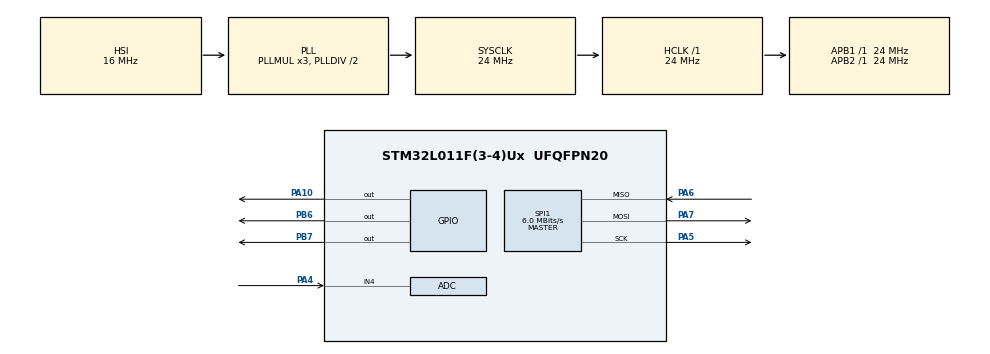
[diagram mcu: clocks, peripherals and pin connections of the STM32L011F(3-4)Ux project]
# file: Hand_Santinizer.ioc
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ADC.ClockPrescaler=ADC_CLOCK_ASYNC_DIV12
ADC.ContinuousConvMode=DISABLE
ADC.EnableAnalogWatchDog=false
ADC.LowPowerAutoPowerOff=ENABLE
ADC.LowPowerAutoWait=ENABLE
ADC.Overrun=ADC_OVR_DATA_OVERWRITTEN
ADC.Resolution=ADC_RESOLUTION_12B
ADC.SamplingTime=ADC_SAMPLETIME_1CYCLE_5
Mcu.Family=STM32L0
Mcu.Name=STM32L011F(3-4)Ux
Mcu.Package=UFQFPN20
NVIC.ADC1_COMP_IRQn=true\:0\:0\:true\:false\:true\:true\:true\:true
NVIC.RTC_IRQn=true\:0\:0\:false\:false\:true\:true\:true\:true
PA10.GPIO_PuPd=GPIO_PULLDOWN
PA10.Signal=GPIO_Output
PA13.Mode=Serial_Wire
PA13.Signal=SYS_SWDIO
PA14.Mode=Serial_Wire
PA14.Signal=SYS_SWCLK
PA4.Mode=IN4
PA4.Signal=ADC_IN4
PA5.Mode=Full_Duplex_Master
PA5.Signal=SPI1_SCK
PA6.Mode=Full_Duplex_Master
PA6.Signal=SPI1_MISO
PA7.Mode=Full_Duplex_Master
PA7.Signal=SPI1_MOSI
PB6.GPIO_PuPd=GPIO_PULLDOWN
PB6.Signal=GPIO_Output
PB7.PinState=GPIO_PIN_SET
PB7.Signal=GPIO_Output
PC14-OSC32_IN.Mode=LSE-External-Oscillator
PC14-OSC32_IN.Signal=RCC_OSC32_IN
PC15-OSC32_OUT.Mode=LSE-External-Oscillator
PC15-OSC32_OUT.Signal=RCC_OSC32_OUT
ProjectManager.HeapSize=0x200
ProjectManager.StackSize=0x400
ProjectManager.TargetToolchain=MDK-ARM V5.32
RCC.AHBFreq_Value=24000000
RCC.APB1Freq_Value=24000000
RCC.APB1TimFreq_Value=24000000
RCC.APB2Freq_Value=24000000
RCC.APB2TimFreq_Value=24000000
RCC.EnableCSSLSE=true
RCC.HCLKFreq_Value=24000000
RCC.HSE_VALUE=8000000
RCC.HSI16_VALUE=16000000
RCC.HSI_VALUE=16000000
RCC.MSI_VALUE=2097000
RCC.RTCClockSelection=RCC_RTCCLKSOURCE_LSE
RCC.RTCClockSelectionVirtual=RCC_RTCCLKSOURCE_LSE
RCC.SYSCLKFreq_VALUE=24000000
RCC.SYSCLKSource=RCC_SYSCLKSOURCE_PLLCLK
RCC.VCOOutputFreq_Value=48000000
RTC.Alarm=RTC_ALARM_A
RTC.AlarmMaskDateWeekDay=RTC_ALARMMASK_DATEWEEKDAY
RTC.AlarmMaskHours=RTC_ALARMMASK_HOURS
RTC.AlarmMaskMinutes=RTC_ALARMMASK_MINUTES
RTC.AlarmMaskSeconds=RTC_ALARMMASK_SECONDS
RTC.Seconds_A=1
SPI1.BaudRatePrescaler=SPI_BAUDRATEPRESCALER_4
SPI1.CLKPolarity=SPI_POLARITY_LOW
SPI1.CalculateBaudRate=6.0 MBits/s
SPI1.Direction=SPI_DIRECTION_2LINES
SPI1.Mode=SPI_MODE_MASTER
SPI1.VirtualType=VM_MASTER
VP_RTC_VS_RTC_Activate.Mode=RTC_Enabled
VP_RTC_VS_RTC_Alarm_A_Intern.Mode=Alarm A
VP_RTC_VS_RTC_Calendar.Mode=RTC_Calendar
board=custom

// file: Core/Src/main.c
/* USER CODE BEGIN Header */
/**
  ******************************************************************************
  * @file           : main.c
  * @brief          : Main program body
  ******************************************************************************
  * @attention
  *
  * Copyright (c) 2024 STMicroelectronics.
  * All rights reserved.
  *
  * This software is licensed under terms that can be found in the LICENSE file
  * in the root directory of this software component.
  * If no LICENSE file comes with this software, it is provided AS-IS.
  *
  ******************************************************************************
  */
/* USER CODE END Header */
#include "main.h"

/* USER CODE BEGIN Includes */
#include "fonts/Font_9_Serif.h"
/* USER CODE END Includes */

ADC_HandleTypeDef hadc;

RTC_HandleTypeDef hrtc;

SPI_HandleTypeDef hspi1;

/* USER CODE BEGIN PV */
bool ADC_WDG_SET = false;
bool RTC_WAKEUP_SET = false;
bool LED_OFF = false;
int  time_min = 0;
int  time_sec = 0;
uint16_t ADC_value=0;
/* USER CODE END PV */

void SystemClock_Config(void);
static void MX_GPIO_Init(void);
static void MX_SPI1_Init(void);
static void MX_ADC_Init(void);
static void MX_RTC_Init(void);
/* USER CODE BEGIN PFP */
void Time_Increase(void);
void Screen_Reset(void);
void Screen_SetTime(int min, int sec);

/* USER CODE END PFP */

int main(void)
{

  /* MCU Configuration--------------------------------------------------------*/

  /* Reset of all peripherals, Initializes the Flash interface and the Systick. */
  HAL_Init();

  /* Configure the system clock */
  SystemClock_Config();

  /* Initialize all configured peripherals */
  MX_GPIO_Init();
  MX_SPI1_Init();
  MX_ADC_Init();
  MX_RTC_Init();
  /* USER CODE BEGIN 2 */
//	SEGGER_RT

	SSD1331_Init();

	HAL_Delay(100);

//	while(1){
//
//	Screen_SetTime(time_min, time_sec);
//	HAL_Delay(5000);
//	Screen_Reset();
//	}

	HAL_ADC_Start_IT(&hadc);
  /* USER CODE END 2 */

  /* Infinite loop */
  /* USER CODE BEGIN WHILE */
  while (1)
  {
//			HAL_SuspendTick();
//      HAL_RTCEx_SetWakeUpTimer_IT(&hrtc, 1, RTC_WAKEUPCLOCK_CK_SPRE_16BITS);
//
//			// Enter STOP mode
//			HAL_PWR_EnterSTOPMode(PWR_LOWPOWERREGULATOR_ON, PWR_STOPENTRY_WFI);
//
//			// Wakeup by RTC after 1s
//			HAL_RTCEx_DeactivateWakeUpTimer(&hrtc);
//			SystemClock_Config();
//			HAL_ResumeTick();
//			HAL_ADC_Start(&hadc);
			if (ADC_WDG_SET == true)
			{
				ADC_WDG_SET = false;
				// Reset the stop watch
				Screen_Reset();

			}
			if (RTC_WAKEUP_SET == true)
			{
				RTC_WAKEUP_SET = false;
				Time_Increase();

				//Refresh the screen
				Screen_SetTime(time_min, time_sec);
			}

				HAL_ADC_Stop(&hadc);
				HAL_Delay(100);
				HAL_ADC_Start_IT(&hadc);
    /* USER CODE END WHILE */

  }
}

void SystemClock_Config(void)
{
  RCC_OscInitTypeDef RCC_OscInitStruct = {0};
  RCC_ClkInitTypeDef RCC_ClkInitStruct = {0};
  RCC_PeriphCLKInitTypeDef PeriphClkInit = {0};

  /** Configure the main internal regulator output voltage
  */
  __HAL_PWR_VOLTAGESCALING_CONFIG(PWR_REGULATOR_VOLTAGE_SCALE1);

  /** Configure LSE Drive Capability
  */
  HAL_PWR_EnableBkUpAccess();
  __HAL_RCC_LSEDRIVE_CONFIG(RCC_LSEDRIVE_LOW);

  /** Initializes the RCC Oscillators according to the specified parameters
  * in the RCC_OscInitTypeDef structure.
  */
  RCC_OscInitStruct.OscillatorType = RCC_OSCILLATORTYPE_HSI|RCC_OSCILLATORTYPE_LSE;
  RCC_OscInitStruct.LSEState = RCC_LSE_ON;
  RCC_OscInitStruct.HSIState = RCC_HSI_ON;
  RCC_OscInitStruct.HSICalibrationValue = RCC_HSICALIBRATION_DEFAULT;
  RCC_OscInitStruct.PLL.PLLState = RCC_PLL_ON;
  RCC_OscInitStruct.PLL.PLLSource = RCC_PLLSOURCE_HSI;
  RCC_OscInitStruct.PLL.PLLMUL = RCC_PLLMUL_3;
  RCC_OscInitStruct.PLL.PLLDIV = RCC_PLLDIV_2;
  if (HAL_RCC_OscConfig(&RCC_OscInitStruct) != HAL_OK)
  {
    Error_Handler();
  }

  /** Initializes the CPU, AHB and APB buses clocks
  */
  RCC_ClkInitStruct.ClockType = RCC_CLOCKTYPE_HCLK|RCC_CLOCKTYPE_SYSCLK
                              |RCC_CLOCKTYPE_PCLK1|RCC_CLOCKTYPE_PCLK2;
  RCC_ClkInitStruct.SYSCLKSource = RCC_SYSCLKSOURCE_PLLCLK;
  RCC_ClkInitStruct.AHBCLKDivider = RCC_SYSCLK_DIV1;
  RCC_ClkInitStruct.APB1CLKDivider = RCC_HCLK_DIV1;
  RCC_ClkInitStruct.APB2CLKDivider = RCC_HCLK_DIV1;

  if (HAL_RCC_ClockConfig(&RCC_ClkInitStruct, FLASH_LATENCY_1) != HAL_OK)
  {
    Error_Handler();
  }
  PeriphClkInit.PeriphClockSelection = RCC_PERIPHCLK_RTC;
  PeriphClkInit.RTCClockSelection = RCC_RTCCLKSOURCE_LSE;
  if (HAL_RCCEx_PeriphCLKConfig(&PeriphClkInit) != HAL_OK)
  {
    Error_Handler();
  }

  /** Enables the Clock Security System
  */
  HAL_RCCEx_EnableLSECSS();
}

static void MX_ADC_Init(void)
{

  ADC_ChannelConfTypeDef sConfig = {0};

  /** Configure the global features of the ADC (Clock, Resolution, Data Alignment and number of conversion)
  */
  hadc.Instance = ADC1;
  hadc.Init.OversamplingMode = DISABLE;
  hadc.Init.ClockPrescaler = ADC_CLOCK_ASYNC_DIV12;
  hadc.Init.Resolution = ADC_RESOLUTION_12B;
  hadc.Init.SamplingTime = ADC_SAMPLETIME_1CYCLE_5;
  hadc.Init.ScanConvMode = ADC_SCAN_DIRECTION_FORWARD;
  hadc.Init.DataAlign = ADC_DATAALIGN_RIGHT;
  hadc.Init.ContinuousConvMode = DISABLE;
  hadc.Init.DiscontinuousConvMode = DISABLE;
  hadc.Init.ExternalTrigConvEdge = ADC_EXTERNALTRIGCONVEDGE_NONE;
  hadc.Init.ExternalTrigConv = ADC_SOFTWARE_START;
  hadc.Init.DMAContinuousRequests = DISABLE;
  hadc.Init.EOCSelection = ADC_EOC_SINGLE_CONV;
  hadc.Init.Overrun = ADC_OVR_DATA_OVERWRITTEN;
  hadc.Init.LowPowerAutoWait = ENABLE;
  hadc.Init.LowPowerFrequencyMode = ENABLE;
  hadc.Init.LowPowerAutoPowerOff = ENABLE;
  if (HAL_ADC_Init(&hadc) != HAL_OK)
  {
    Error_Handler();
  }

  /** Configure for the selected ADC regular channel to be converted.
  */
  sConfig.Channel = ADC_CHANNEL_4;
  sConfig.Rank = ADC_RANK_CHANNEL_NUMBER;
  if (HAL_ADC_ConfigChannel(&hadc, &sConfig) != HAL_OK)
  {
    Error_Handler();
  }

}

static void MX_RTC_Init(void)
{

  RTC_TimeTypeDef sTime = {0};
  RTC_DateTypeDef sDate = {0};
  RTC_AlarmTypeDef sAlarm = {0};

  /** Initialize RTC Only
  */
  hrtc.Instance = RTC;
  hrtc.Init.HourFormat = RTC_HOURFORMAT_24;
  hrtc.Init.AsynchPrediv = 127;
  hrtc.Init.SynchPrediv = 255;
  hrtc.Init.OutPut = RTC_OUTPUT_DISABLE;
  hrtc.Init.OutPutRemap = RTC_OUTPUT_REMAP_NONE;
  hrtc.Init.OutPutPolarity = RTC_OUTPUT_POLARITY_HIGH;
  hrtc.Init.OutPutType = RTC_OUTPUT_TYPE_OPENDRAIN;
  if (HAL_RTC_Init(&hrtc) != HAL_OK)
  {
    Error_Handler();
  }

  /** Initialize RTC and set the Time and Date
  */
  sTime.Hours = 0x0;
  sTime.Minutes = 0x0;
  sTime.Seconds = 0x0;
  sTime.DayLightSaving = RTC_DAYLIGHTSAVING_NONE;
  sTime.StoreOperation = RTC_STOREOPERATION_RESET;
  if (HAL_RTC_SetTime(&hrtc, &sTime, RTC_FORMAT_BCD) != HAL_OK)
  {
    Error_Handler();
  }
  sDate.WeekDay = RTC_WEEKDAY_MONDAY;
  sDate.Month = RTC_MONTH_JANUARY;
  sDate.Date = 0x1;
  sDate.Year = 0x0;

  if (HAL_RTC_SetDate(&hrtc, &sDate, RTC_FORMAT_BCD) != HAL_OK)
  {
    Error_Handler();
  }

  /** Enable the Alarm A
  */
  sAlarm.AlarmTime.Hours = 0x0;
  sAlarm.AlarmTime.Minutes = 0x0;
  sAlarm.AlarmTime.Seconds = 0x1;
  sAlarm.AlarmTime.SubSeconds = 0x0;
  sAlarm.AlarmTime.DayLightSaving = RTC_DAYLIGHTSAVING_NONE;
  sAlarm.AlarmTime.StoreOperation = RTC_STOREOPERATION_RESET;
  sAlarm.AlarmMask = RTC_ALARMMASK_ALL;
  sAlarm.AlarmSubSecondMask = RTC_ALARMSUBSECONDMASK_ALL;
  sAlarm.AlarmDateWeekDaySel = RTC_ALARMDATEWEEKDAYSEL_DATE;
  sAlarm.AlarmDateWeekDay = 0x1;
  sAlarm.Alarm = RTC_ALARM_A;
  if (HAL_RTC_SetAlarm_IT(&hrtc, &sAlarm, RTC_FORMAT_BCD) != HAL_OK)
  {
    Error_Handler();
  }

}

static void MX_SPI1_Init(void)
{

  /* SPI1 parameter configuration*/
  hspi1.Instance = SPI1;
  hspi1.Init.Mode = SPI_MODE_MASTER;
  hspi1.Init.Direction = SPI_DIRECTION_2LINES;
  hspi1.Init.DataSize = SPI_DATASIZE_8BIT;
  hspi1.Init.CLKPolarity = SPI_POLARITY_LOW;
  hspi1.Init.CLKPhase = SPI_PHASE_1EDGE;
  hspi1.Init.NSS = SPI_NSS_SOFT;
  hspi1.Init.BaudRatePrescaler = SPI_BAUDRATEPRESCALER_4;
  hspi1.Init.FirstBit = SPI_FIRSTBIT_MSB;
  hspi1.Init.TIMode = SPI_TIMODE_DISABLE;
  hspi1.Init.CRCCalculation = SPI_CRCCALCULATION_DISABLE;
  hspi1.Init.CRCPolynomial = 7;
  if (HAL_SPI_Init(&hspi1) != HAL_OK)
  {
    Error_Handler();
  }

}

static void MX_GPIO_Init(void)
{
  GPIO_InitTypeDef GPIO_InitStruct = {0};

  /* GPIO Ports Clock Enable */
  __HAL_RCC_GPIOC_CLK_ENABLE();
  __HAL_RCC_GPIOA_CLK_ENABLE();
  __HAL_RCC_GPIOB_CLK_ENABLE();

  /*Configure GPIO pin Output Level */
  HAL_GPIO_WritePin(GPIOA, GPIO_PIN_10, GPIO_PIN_RESET);

  /*Configure GPIO pin Output Level */
  HAL_GPIO_WritePin(GPIOB, GPIO_PIN_6, GPIO_PIN_RESET);

  /*Configure GPIO pin Output Level */
  HAL_GPIO_WritePin(GPIOB, GPIO_PIN_7, GPIO_PIN_SET);

  /*Configure GPIO pins : PA0 PA1 PA9 */
  GPIO_InitStruct.Pin = GPIO_PIN_0|GPIO_PIN_1|GPIO_PIN_9;
  GPIO_InitStruct.Mode = GPIO_MODE_ANALOG;
  GPIO_InitStruct.Pull = GPIO_NOPULL;
  HAL_GPIO_Init(GPIOA, &GPIO_InitStruct);

  /*Configure GPIO pin : PB1 */
  GPIO_InitStruct.Pin = GPIO_PIN_1;
  GPIO_InitStruct.Mode = GPIO_MODE_ANALOG;
  GPIO_InitStruct.Pull = GPIO_NOPULL;
  HAL_GPIO_Init(GPIOB, &GPIO_InitStruct);

  /*Configure GPIO pin : PA10 */
  GPIO_InitStruct.Pin = GPIO_PIN_10;
  GPIO_InitStruct.Mode = GPIO_MODE_OUTPUT_PP;
  GPIO_InitStruct.Pull = GPIO_PULLDOWN;
  GPIO_InitStruct.Speed = GPIO_SPEED_FREQ_LOW;
  HAL_GPIO_Init(GPIOA, &GPIO_InitStruct);

  /*Configure GPIO pin : PB6 */
  GPIO_InitStruct.Pin = GPIO_PIN_6;
  GPIO_InitStruct.Mode = GPIO_MODE_OUTPUT_PP;
  GPIO_InitStruct.Pull = GPIO_PULLDOWN;
  GPIO_InitStruct.Speed = GPIO_SPEED_FREQ_LOW;
  HAL_GPIO_Init(GPIOB, &GPIO_InitStruct);

  /*Configure GPIO pin : PB7 */
  GPIO_InitStruct.Pin = GPIO_PIN_7;
  GPIO_InitStruct.Mode = GPIO_MODE_OUTPUT_PP;
  GPIO_InitStruct.Pull = GPIO_NOPULL;
  GPIO_InitStruct.Speed = GPIO_SPEED_FREQ_LOW;
  HAL_GPIO_Init(GPIOB, &GPIO_InitStruct);

}

/* USER CODE BEGIN 4 */
void Time_Increase(void)
{
	if (time_sec == 59)
	{
		time_min++;
		time_sec = 0;
	}
	else
	{
		time_sec++;
	}
}

void Screen_Reset(void)
{
	time_min = 0;
	time_sec = 0;
	LCD_Rect_Fill(0, 0, LCD_WIDTH-1, LCD_HEIGHT-1, GREEN);
//	LCD_Font(11, 45, "0 : 0", &Font_9_Serif, 2, WHITE);
	HAL_Delay(500);
}

void Screen_SetTime(int min, int sec)
{
	if (min == 0)
	{
		if (LED_OFF == true)
		{
			SSD1331_Init();
			LED_OFF = false;
		}
		LCD_Rect_Fill(0, 0, LCD_WIDTH-1, LCD_HEIGHT-1, GREEN);
	}
	else if (min < 2)
	{
		LCD_Rect_Fill(0, 0, LCD_WIDTH-1, LCD_HEIGHT-1, YELLOW);
	}
	else if (min < 3)
	{
		LCD_Rect_Fill(0, 0, LCD_WIDTH-1, LCD_HEIGHT-1, ORANGE);
	}
	else if (min < 30)
	{
		LCD_Rect_Fill(0, 0, LCD_WIDTH-1, LCD_HEIGHT-1, RED);
	}
	else
	{
		LCD_Command(CMD_DISPLAY_OFF);
		LED_OFF = true;
	}

	HAL_Delay(5);
	char buff[10];
	if (min<10)
	{
		sprintf(buff, "%d : %d", min, sec);
		LCD_Font(11, 45, buff, &Font_9_Serif, 2, WHITE);
	}
	else
	{
		sprintf(buff, "%d", min);
		LCD_Font(30, 45, buff, &Font_9_Serif, 2, WHITE);
	}
}

//void HAL_ADC_LevelOutOfWindowCallback(ADC_HandleTypeDef *hadc)
//{
//	// TODO: need to reset the RCC?
//	// Reset the stopwatch or set a flag for this
//	ADC_value = HAL_ADC_GetValue(hadc);
////	char buff[10];
////	sprintf(buff, "%d ", ADC_value);
////	LCD_Font(11, 45, buff, &Font_9_Serif, 2, WHITE);
//	if (ADC_WDG_SET == false)
//		ADC_WDG_SET = true;
//
//}
void HAL_ADC_ConvCpltCallback(ADC_HandleTypeDef *hadc)
{
	ADC_value = HAL_ADC_GetValue(hadc);
	if (ADC_value < 3000)
//	if (ADC_value < 1)
	{
		if (ADC_WDG_SET == false)
			ADC_WDG_SET = true;
	}
}
void HAL_RTC_AlarmAEventCallback(RTC_HandleTypeDef *hrtc)
{
	if (RTC_WAKEUP_SET == false)
		RTC_WAKEUP_SET = true;
}
void HAL_RTCEx_WakeUpTimerEventCallback(RTC_HandleTypeDef *hrtc)
{
	 RTC_WAKEUP_SET = true;
}

/* USER CODE END 4 */

void Error_Handler(void)
{
  __disable_irq();
  while (1)
  {
  }
}
